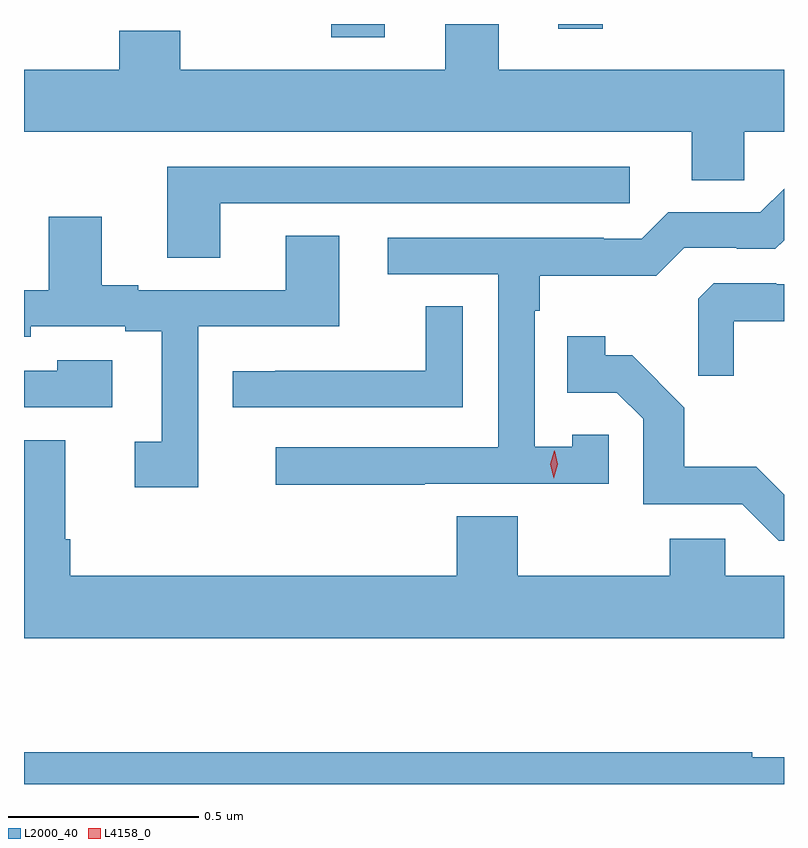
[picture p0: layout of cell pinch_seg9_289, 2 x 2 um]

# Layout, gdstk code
import gdstk
lib = gdstk.Library(unit=1e-6, precision=1e-09)
def R(c, l, rs):  # rectangles x0, y0, x1, y1
    for r in rs: c.add(gdstk.rectangle(r[:2], r[2:], *l))
def P(c, l, *ps):  # polygons
    for p in ps: c.add(gdstk.Polygon(p, *l))
L2000_40 = (2000, 40)
L4158_0 = (4158, 0)

pinch_seg9_289 = lib.new_cell('pinch_seg9_289')
R(pinch_seg9_289, L2000_40, [(403.565,1172.693,403.705,1172.728), (404.162,1172.715,404.279,1172.728)])
P(pinch_seg9_289, L2000_40, [(404.652,1172.444),(404.756,1172.444),(404.756,1172.608),(404.005,1172.608),(404.005,1172.728),(403.865,1172.728),(403.865,1172.608),(403.167,1172.608),(403.167,1172.71),(403.007,1172.71),(403.007,1172.608),(402.756,1172.608),(402.756,1172.444),(404.513,1172.444),(404.513,1172.317),(404.652,1172.317)],
  [(403.273,1172.256),(404.35,1172.256),(404.35,1172.352),(403.133,1172.352),(403.133,1172.113),(403.273,1172.113)],
  [(403.811,1171.518),(404.295,1171.518),(404.295,1171.647),(404.199,1171.647),(404.199,1171.615),(404.1,1171.615),(404.1,1171.973),(404.113,1171.973),(404.113,1172.066),(404.42,1172.066),(404.493,1172.139),(404.632,1172.139),(404.632,1172.136),(404.733,1172.136),(404.756,1172.159),(404.756,1172.294),(404.694,1172.232),(404.451,1172.232),(404.382,1172.163),(404.282,1172.163),(404.282,1172.166),(403.713,1172.166),(403.713,1172.07),(404.004,1172.07),(404.004,1171.614),(403.419,1171.614),(403.419,1171.516),(403.811,1171.516)],
  [(403.215,1171.932),(403.585,1171.932),(403.585,1172.171),(403.445,1172.171),(403.445,1172.028),(403.057,1172.028),(403.057,1172.041),(402.961,1172.041),(402.961,1172.221),(402.821,1172.221),(402.821,1172.028),(402.756,1172.028),(402.756,1171.905),(402.774,1171.905),(402.774,1171.932),(403.022,1171.932),(403.022,1171.92),(403.118,1171.92),(403.118,1171.629),(403.047,1171.629),(403.047,1171.509),(403.215,1171.509)],
  [(404.624,1171.946),(404.756,1171.946),(404.756,1172.043),(404.736,1172.043),(404.736,1172.046),(404.571,1172.046),(404.53,1172.005),(404.53,1171.803),(404.624,1171.803)],
  [(403.911,1171.985),(403.813,1171.985),(403.813,1171.815),(403.417,1171.815),(403.417,1171.814),(403.305,1171.814),(403.305,1171.719),(403.911,1171.719)],
  [(404.756,1171.489),(404.683,1171.563),(404.494,1171.563),(404.494,1171.718),(404.356,1171.856),(404.286,1171.856),(404.286,1171.906),(404.185,1171.906),(404.185,1171.758),(404.316,1171.758),(404.385,1171.689),(404.385,1171.464),(404.646,1171.464),(404.742,1171.368),(404.756,1171.368)],
  [(402.988,1171.843),(402.843,1171.843),(402.843,1171.815),(402.756,1171.815),(402.756,1171.719),(402.988,1171.719)],
  [(404.756,1171.276),(404.601,1171.276),(404.601,1171.374),(404.455,1171.374),(404.455,1171.276),(404.055,1171.276),(404.055,1171.433),(403.895,1171.433),(403.895,1171.276),(402.878,1171.276),(402.878,1171.372),(402.865,1171.372),(402.865,1171.633),(402.756,1171.633),(402.756,1171.112),(404.756,1171.112)],
  [(404.756,1170.798),(404.672,1170.798),(404.672,1170.811),(402.756,1170.811),(402.756,1170.728),(404.756,1170.728)])
P(pinch_seg9_289, L4158_0, [(404.15,1171.533),(404.15,1171.533),(404.141,1171.57),(404.152,1171.605),(404.152,1171.605),(404.153,1171.605),(404.161,1171.569),(404.15,1171.533)])

lib.write_gds('pinch_seg9_289.gds')
